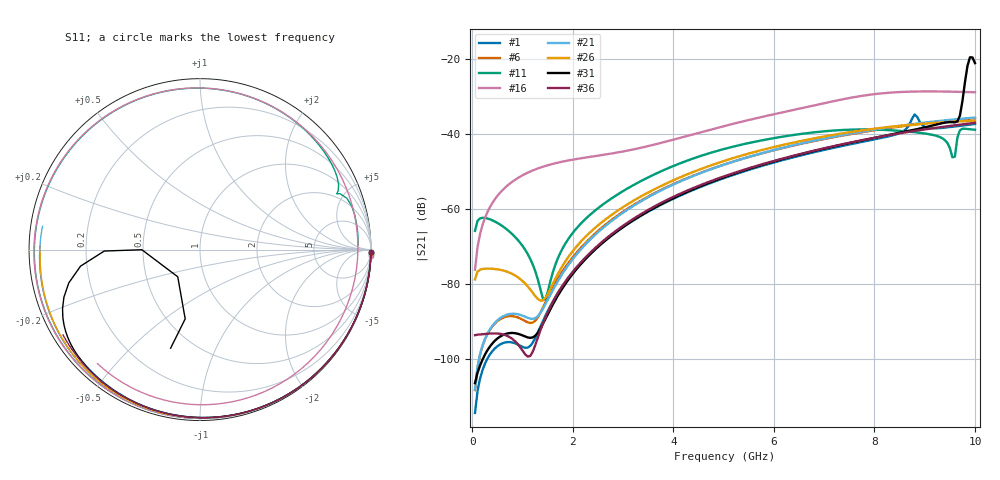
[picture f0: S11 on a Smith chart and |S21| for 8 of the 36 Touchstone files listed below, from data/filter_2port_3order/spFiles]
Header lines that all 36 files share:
! freq	dB(S11)	phase(S11)	dB(S12)	phase(S12)
!  dB(S21)	phase(S21)	dB(S22)	phase(S22)
!S-par simulation data
#  GHz  S  DB  R 50
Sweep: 50 MHz to 10 GHz
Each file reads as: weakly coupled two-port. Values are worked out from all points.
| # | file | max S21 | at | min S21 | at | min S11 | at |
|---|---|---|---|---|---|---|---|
| 1 | randomGDSSteppedImpFilter_Type=butter_order=3_pixelSize=18_sim=7837.s2p | -34.89 dB | 8.8 GHz | -114.5 dB | 50 MHz | -0.5 dB | 10 GHz |
| 2 | randomGDSSteppedImpFilter_Type=butter_order=3_pixelSize=18_sim=7839.s2p | -36.83 dB | 10 GHz | -112.6 dB | 50 MHz | -0.6 dB | 10 GHz |
| 3 | randomGDSSteppedImpFilter_Type=butter_order=3_pixelSize=18_sim=7842.s2p | -35.53 dB | 10 GHz | -81.5 dB | 50 MHz | -0.4 dB | 10 GHz |
| 4 | randomGDSSteppedImpFilter_Type=butter_order=3_pixelSize=18_sim=7843.s2p | -37.11 dB | 10 GHz | -109.4 dB | 50 MHz | -0.4 dB | 10 GHz |
| 5 | randomGDSSteppedImpFilter_Type=butter_order=3_pixelSize=18_sim=7844.s2p | -32.32 dB | 9.25 GHz | -107.7 dB | 50 MHz | -1.3 dB | 9.25 GHz |
| 6 | randomGDSSteppedImpFilter_Type=butter_order=3_pixelSize=18_sim=7845.s2p | -35.90 dB | 10 GHz | -108.4 dB | 50 MHz | -0.6 dB | 10 GHz |
| 7 | randomGDSSteppedImpFilter_Type=butter_order=3_pixelSize=18_sim=7846.s2p | -35.23 dB | 7.25 GHz | -104.8 dB | 50 MHz | -0.5 dB | 10 GHz |
| 8 | randomGDSSteppedImpFilter_Type=butter_order=3_pixelSize=18_sim=7847.s2p | -28.91 dB | 3.7 GHz | -100.2 dB | 50 MHz | -0.5 dB | 10 GHz |
| 9 | randomGDSSteppedImpFilter_Type=butter_order=3_pixelSize=18_sim=7848.s2p | -36.01 dB | 10 GHz | -100.2 dB | 50 MHz | -0.6 dB | 10 GHz |
| 10 | randomGDSSteppedImpFilter_Type=butter_order=3_pixelSize=18_sim=7849.s2p | -37.33 dB | 10 GHz | -110.9 dB | 50 MHz | -3.9 dB | 9.65 GHz |
| 11 | randomGDSSteppedImpFilter_Type=butter_order=3_pixelSize=18_sim=7850.s2p | -38.70 dB | 9.8 GHz | -84.3 dB | 1.45 GHz | -1.3 dB | 9.6 GHz |
| 12 | randomGDSSteppedImpFilter_Type=butter_order=3_pixelSize=18_sim=7851.s2p | -18.90 dB | 10 GHz | -64.9 dB | 50 MHz | -1.6 dB | 10 GHz |
| 13 | randomGDSSteppedImpFilter_Type=butter_order=3_pixelSize=18_sim=7852.s2p | -29.55 dB | 10 GHz | -71.9 dB | 50 MHz | -0.7 dB | 10 GHz |
| 14 | randomGDSSteppedImpFilter_Type=butter_order=3_pixelSize=18_sim=7854.s2p | -36.59 dB | 9.55 GHz | -107.6 dB | 50 MHz | -0.5 dB | 10 GHz |
| 15 | randomGDSSteppedImpFilter_Type=butter_order=3_pixelSize=18_sim=7855.s2p | -37.59 dB | 10 GHz | -101.5 dB | 1.05 GHz | -0.4 dB | 10 GHz |
| 16 | randomGDSSteppedImpFilter_Type=butter_order=3_pixelSize=18_sim=7856.s2p | -28.75 dB | 9.1 GHz | -76.3 dB | 50 MHz | -0.9 dB | 10 GHz |
| 17 | randomGDSSteppedImpFilter_Type=butter_order=3_pixelSize=18_sim=7857.s2p | -17.16 dB | 6.65 GHz | -61.7 dB | 50 MHz | -6.1 dB | 6.7 GHz |
| 18 | randomGDSSteppedImpFilter_Type=butter_order=3_pixelSize=18_sim=7858.s2p | -32.36 dB | 9.5 GHz | -86.7 dB | 50 MHz | -0.7 dB | 10 GHz |
| 19 | randomGDSSteppedImpFilter_Type=butter_order=3_pixelSize=18_sim=7859.s2p | -38.33 dB | 10 GHz | -117.5 dB | 50 MHz | -0.5 dB | 10 GHz |
| 20 | randomGDSSteppedImpFilter_Type=butter_order=3_pixelSize=18_sim=7860.s2p | -30.33 dB | 10 GHz | -94.7 dB | 50 MHz | -0.5 dB | 10 GHz |
| 21 | randomGDSSteppedImpFilter_Type=butter_order=3_pixelSize=18_sim=7861.s2p | -35.72 dB | 10 GHz | -108.2 dB | 50 MHz | -0.6 dB | 10 GHz |
| 22 | randomGDSSteppedImpFilter_Type=butter_order=3_pixelSize=18_sim=7862.s2p | -25.83 dB | 10 GHz | -69.0 dB | 50 MHz | -1.0 dB | 10 GHz |
| 23 | randomGDSSteppedImpFilter_Type=butter_order=3_pixelSize=18_sim=7863.s2p | -37.47 dB | 10 GHz | -114.9 dB | 50 MHz | -0.5 dB | 10 GHz |
| 24 | randomGDSSteppedImpFilter_Type=butter_order=3_pixelSize=18_sim=7864.s2p | -35.73 dB | 10 GHz | -108.0 dB | 50 MHz | -0.6 dB | 10 GHz |
| 25 | randomGDSSteppedImpFilter_Type=butter_order=3_pixelSize=18_sim=7865.s2p | -38.45 dB | 10 GHz | -114.9 dB | 1.25 GHz | -0.4 dB | 10 GHz |
| 26 | randomGDSSteppedImpFilter_Type=butter_order=3_pixelSize=18_sim=7866.s2p | -36.63 dB | 10 GHz | -84.5 dB | 1.35 GHz | -0.6 dB | 10 GHz |
| 27 | randomGDSSteppedImpFilter_Type=butter_order=3_pixelSize=18_sim=7867.s2p | -32.36 dB | 9.3 GHz | -92.4 dB | 50 MHz | -0.5 dB | 9.25 GHz |
| 28 | randomGDSSteppedImpFilter_Type=butter_order=3_pixelSize=18_sim=7868.s2p | -36.65 dB | 9.9 GHz | -102.3 dB | 50 MHz | -0.8 dB | 6.5 GHz |
| 29 | randomGDSSteppedImpFilter_Type=butter_order=3_pixelSize=18_sim=7869.s2p | -29.98 dB | 8.95 GHz | -105.2 dB | 50 MHz | -0.7 dB | 8.95 GHz |
| 30 | randomGDSSteppedImpFilter_Type=butter_order=3_pixelSize=18_sim=7870.s2p | -36.80 dB | 10 GHz | -88.2 dB | 50 MHz | -0.6 dB | 10 GHz |
| 31 | randomGDSSteppedImpFilter_Type=butter_order=3_pixelSize=18_sim=7871.s2p | -19.64 dB | 9.9 GHz | -106.5 dB | 50 MHz | -13.7 dB | 9.9 GHz |
| 32 | randomGDSSteppedImpFilter_Type=butter_order=3_pixelSize=18_sim=7872.s2p | -36.32 dB | 9.8 GHz | -98.6 dB | 50 MHz | -0.5 dB | 10 GHz |
| 33 | randomGDSSteppedImpFilter_Type=butter_order=3_pixelSize=18_sim=7873.s2p | -37.14 dB | 10 GHz | -114.3 dB | 50 MHz | -0.5 dB | 10 GHz |
| 34 | randomGDSSteppedImpFilter_Type=butter_order=3_pixelSize=18_sim=7874.s2p | -37.73 dB | 10 GHz | -109.6 dB | 50 MHz | -0.5 dB | 10 GHz |
| 35 | randomGDSSteppedImpFilter_Type=butter_order=3_pixelSize=18_sim=7875.s2p | -31.21 dB | 9.75 GHz | -100.5 dB | 50 MHz | -18.0 dB | 9.75 GHz |
| 36 | randomGDSSteppedImpFilter_Type=butter_order=3_pixelSize=18_sim=7876.s2p | -37.13 dB | 10 GHz | -99.5 dB | 1.1 GHz | -0.5 dB | 10 GHz |
